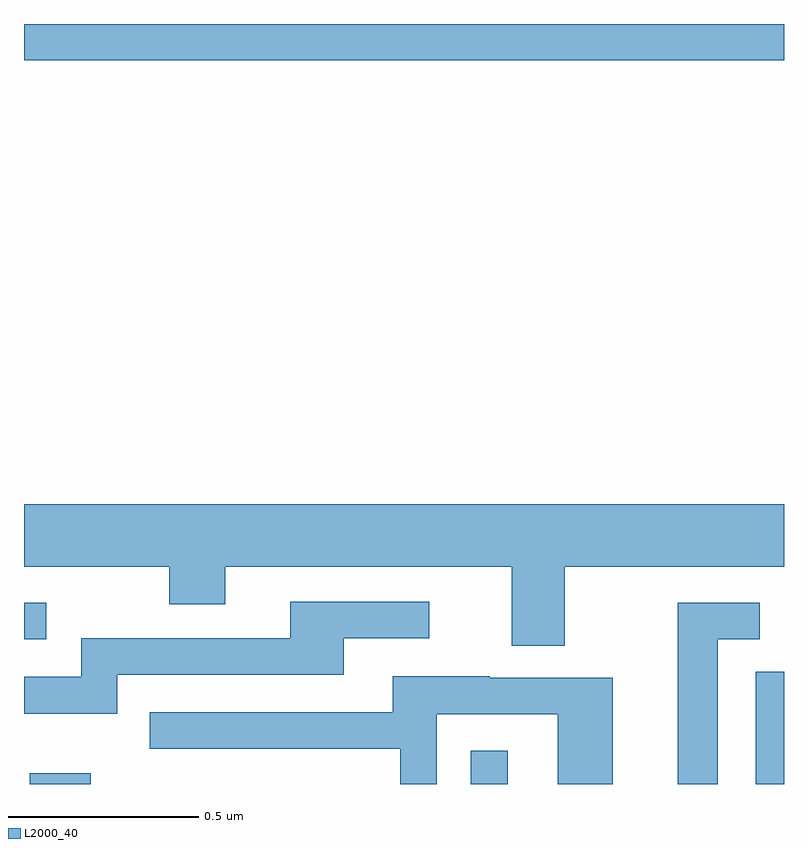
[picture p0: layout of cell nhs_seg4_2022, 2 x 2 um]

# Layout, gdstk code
import gdstk
lib = gdstk.Library(unit=1e-6, precision=1e-09)
def R(c, l, rs):  # rectangles x0, y0, x1, y1
    for r in rs: c.add(gdstk.rectangle(r[:2], r[2:], *l))
def P(c, l, *ps):  # polygons
    for p in ps: c.add(gdstk.Polygon(p, *l))
L2000_40 = (2000, 40)

nhs_seg4_2022 = lib.new_cell('nhs_seg4_2022')
R(nhs_seg4_2022, L2000_40, [(135.015,810.9,135.176,810.928), (136.176,810.9,136.273,810.988), (136.926,810.9,137,811.196), (135,811.281,135.058,811.377), (135,812.804,137,812.9)])
P(nhs_seg4_2022, L2000_40, [(136.423,811.472),(137,811.472),(137,811.636),(135,811.636),(135,811.472),(135.382,811.472),(135.382,811.373),(135.529,811.373),(135.529,811.472),(136.283,811.472),(136.283,811.264),(136.423,811.264)],
  [(135.246,811.188),(135.841,811.188),(135.841,811.284),(136.066,811.284),(136.066,811.38),(135.701,811.38),(135.701,811.284),(135.15,811.284),(135.15,811.182),(135,811.182),(135,811.085),(135.246,811.085)],
  [(136.825,811.281),(136.936,811.281),(136.936,811.377),(136.721,811.377),(136.721,810.9),(136.825,810.9)],
  [(136.086,811.083),(136.404,811.083),(136.404,810.9),(136.549,810.9),(136.549,811.179),(136.225,811.179),(136.225,811.183),(135.971,811.183),(135.971,811.089),(135.331,811.089),(135.331,810.993),(135.99,810.993),(135.99,810.9),(136.086,810.9)])

lib.write_gds('nhs_seg4_2022.gds')
